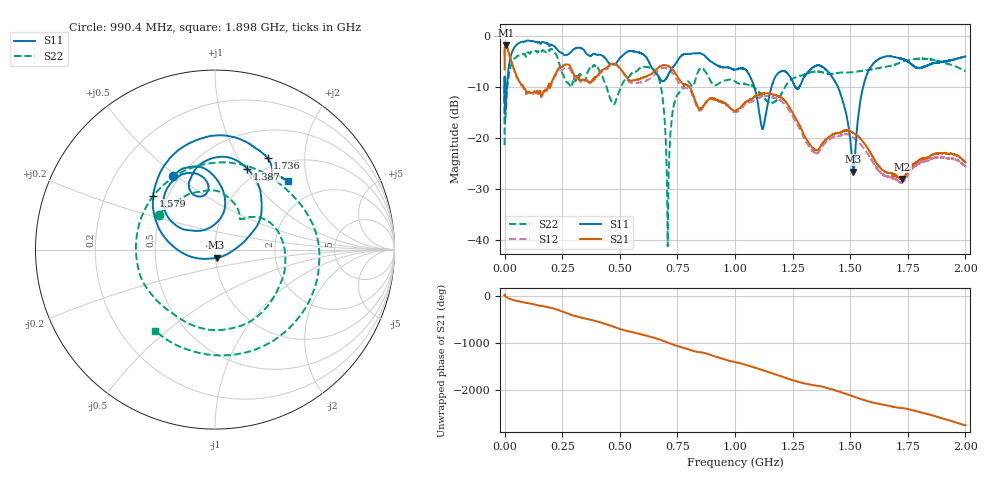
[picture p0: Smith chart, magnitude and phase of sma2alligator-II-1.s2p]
# HZ S RI R 50.000000000000
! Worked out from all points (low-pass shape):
!   20000 points, 9 kHz to 2 GHz, reference 50 ohm
!   highest |S21| = -1.68 dB at 5.109 MHz (marker M1); lowest = -28.1 dB at 1.726 GHz (marker M2)
!   |S21| within 3 dB of the highest: 81.85 kHz to 27.81 MHz (27.73 MHz wide, 199 % of centre)
!   lowest |S11| = -26.6 dB at 1.514 GHz (marker M3), VSWR 1.10, Z = 50.7 - j4.66 ohm
!   |S11| at or under -10 dB: 1.084 GHz to 1.158 GHz (74.06 MHz wide, 6.61 % of centre); 1.263 GHz to 1.279 GHz (16.3 MHz wide, 1.28 % of centre); 1.447 GHz to 1.556 GHz (108.6 MHz wide, 7.23 % of centre)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
!   |S22| runs from -41.3 to -2.5 dB; largest |S21 - S12| = 1.6
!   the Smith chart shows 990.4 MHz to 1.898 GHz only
!   S11 on the Smith chart (normalised r, x): 990.4 MHz: 0.46, +0.48; 1.387 GHz: 0.87, +1.03; 1.579 GHz: 0.42, +0.31; 1.736 GHz: 0.86, +1.34; 1.898 GHz: 1.39, +1.54
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9000  0.1514 -0.1678  0.4136 0.2304  -0.7231 0.1282  0.084 0.0135
5109248  -0.0642 0.2047  0.8165 -0.112  -0.7775 0.1934  -0.0616 0.173
8.871333e7  0.8782 -0.1525  -0.2128 -0.2194  0.1378 0.2657  0.4569 -0.4793
2.024189e8  0.4047 -0.7228  -0.1512 0.3084  0.3139 -0.1166  -0.7306 -0.1751
2.734223e8  0.1714 -0.637  0.5272 -0.0304  -0.243 -0.4191  0.3413 0.0767
3.334253e8  -0.0884 -0.755  -0.00601 -0.3662  -0.3499 0.0745  -0.389 -0.0705
4.771323e8  -0.296 -0.4387  0.2126 0.4916  0.5294 0.00532  -0.0113 -0.2169
5.688368e8  -0.6262 -0.3225  0.2029 -0.3124  -0.0864 -0.3382  0.0979 0.438
6.667415e8  -0.4071 0.00133  -0.4848 0.0749  -0.411 0.2047  0.2548 -0.3136
7.088436e8  -0.3909 -0.1307  -0.0502 0.51  0.0199 0.4773  0.0125 -0.000673
7.531458e8  -0.5712 -0.1344  0.3714 0.1193  0.3301 0.1393  0.2409 -0.1272
9.903573e8  -0.2356 0.411  0.1211 0.1441  -0.0778 0.1659  -0.3129 0.1927
1.000058e9  -0.226 0.4109  0.1415 0.1188  -0.0535 0.1707  -0.2798 0.2255
1.333374e9  -0.0788 0.4783  0.00704 -0.0809  0.03 0.0693  0.1952 -0.4012
1.387477e9  0.1803 0.4503  -0.0627 -0.0686  0.0742 0.0461  -0.1311 -0.4191
1.514283e9  0.00912 -0.0458  0.0992 0.0509  -0.0729 -0.069  -0.4258 0.1286
1.579386e9  -0.3451 0.2985  0.0181 -0.0748  -0.0524 0.0438  -0.2105 0.4173
1.66669e9  0.0494 0.6362  -0.0444 -0.0085  0.0141 0.0388  0.2899 0.4161
1.725693e9  0.2651 0.5366  -0.03 0.0257  0.0308 0.0197  0.5423 0.1468
1.736494e9  0.2931 0.5112  -0.0288 0.0306  0.0341 0.0187  0.5684 0.0698
1.897802e9  0.4088 0.3824  0.0198 -0.0677  -0.0461 -0.0446  -0.3325 -0.4506
2.000007e9  0.5647 0.2868  -0.0379 0.0433  -0.0105 0.0515  -0.3848 0.2434
